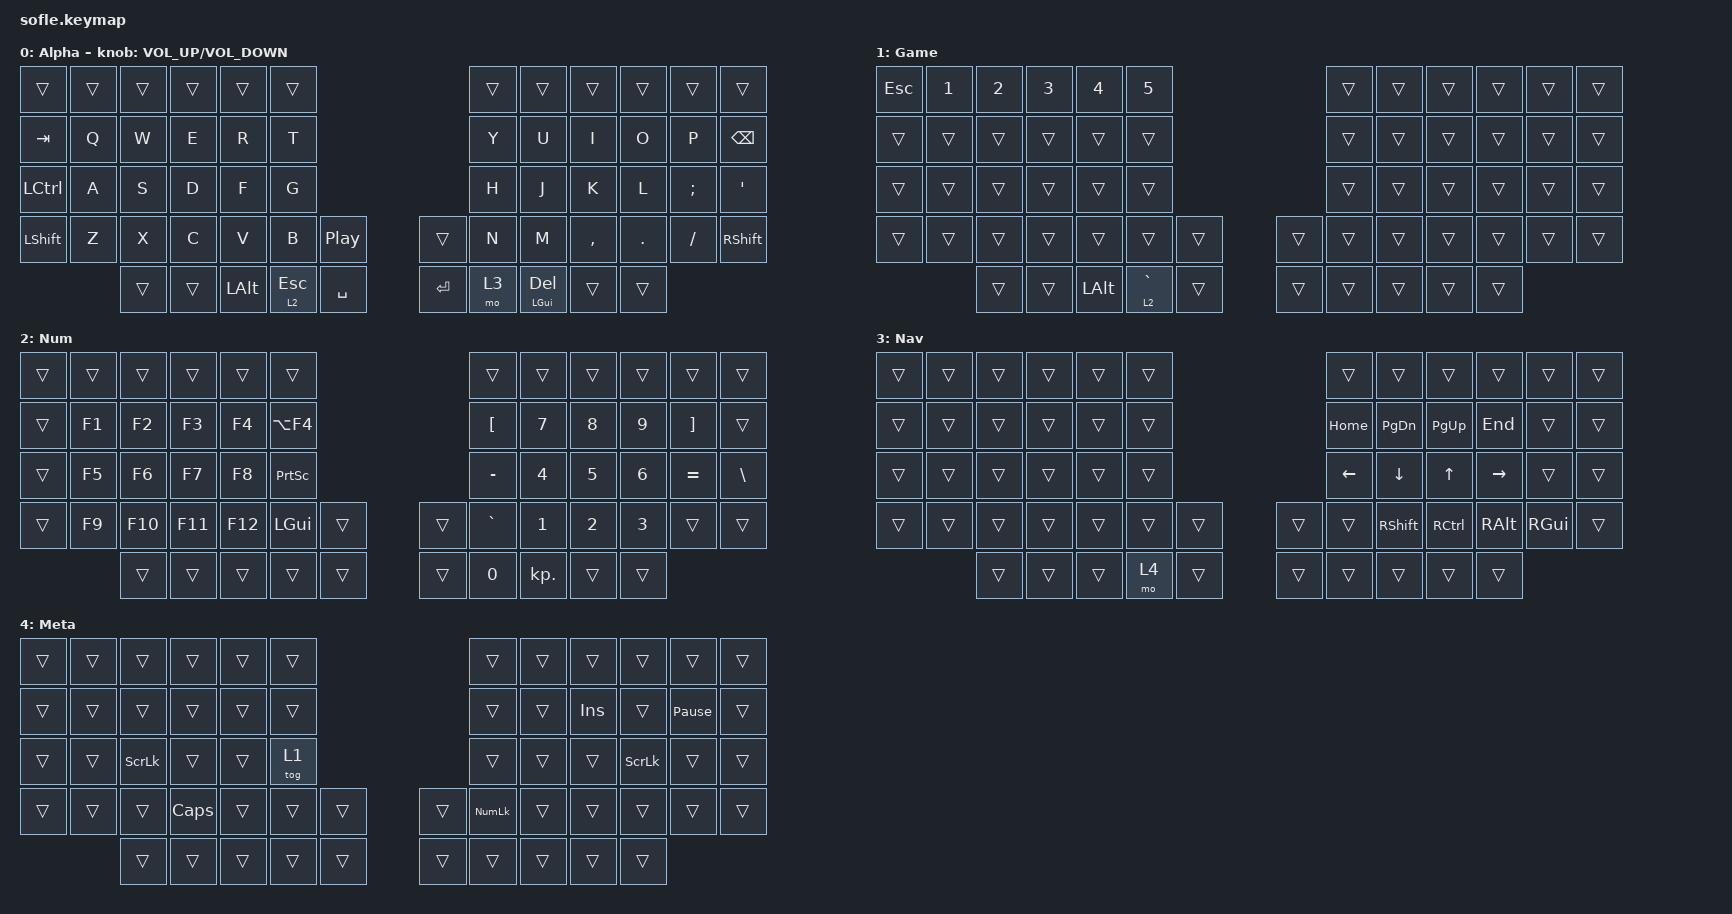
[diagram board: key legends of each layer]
/*
 * Copyright (c) 2020 The ZMK Contributors
 *
 * SPDX-License-Identifier: MIT
 */
// #include <dt-bindings/zmk/bt.h>

#include <behaviors.dtsi>
#include <dt-bindings/zmk/keys.h>

// #include <dt-bindings/zmk/outputs.h>

&lt {
    flavor = "balanced";
    quick-tap-ms = <200>;
};

/ {
    behaviors {
        left_shift: left_shift {
            compatible = "zmk,behavior-mod-morph";
            label = "LEFT_SHIFT";
            bindings = <&kp LSHIFT>, <&caps_word>;

            #binding-cells = <0>;
            mods = <(MOD_RSFT)>;
        };

        right_shift: right_shift {
            compatible = "zmk,behavior-mod-morph";
            label = "RIGHT_SHIFT";
            bindings = <&kp RSHIFT>, <&caps_word>;

            #binding-cells = <0>;
            mods = <(MOD_LSFT)>;
        };
    };

    keymap {
        compatible = "zmk,keymap";

        Alpha {
            bindings = <
&trans     &trans  &trans  &trans  &trans    &trans                                  &trans  &trans        &trans     &trans   &trans    &trans
&kp TAB    &kp Q   &kp W   &kp E   &kp R     &kp T                                   &kp Y   &kp U         &kp I      &kp O    &kp P     &kp BSPC
&kp LCTRL  &kp A   &kp S   &kp D   &kp F     &kp G                                   &kp H   &kp J         &kp K      &kp L    &kp SEMI  &kp SQT
&kp LSHFT  &kp Z   &kp X   &kp C   &kp V     &kp B      &kp C_PLAY_PAUSE    &trans   &kp N   &kp M         &kp COMMA  &kp DOT  &kp FSLH  &kp RSHFT
                   &trans  &trans  &kp LALT  &lt 2 ESC  &kp SPACE           &kp RET  &mo 3   &mt LGUI DEL  &trans     &trans
            >;

            sensor-bindings = <&inc_dec_kp C_VOLUME_UP C_VOLUME_DOWN>;
        };

        Game {
            bindings = <
&kp ESC  &kp N1  &kp N2  &kp N3  &kp N4    &kp N5                         &trans  &trans  &trans  &trans  &trans  &trans
&trans   &trans  &trans  &trans  &trans    &trans                         &trans  &trans  &trans  &trans  &trans  &trans
&trans   &trans  &trans  &trans  &trans    &trans                         &trans  &trans  &trans  &trans  &trans  &trans
&trans   &trans  &trans  &trans  &trans    &trans       &trans    &trans  &trans  &trans  &trans  &trans  &trans  &trans
                 &trans  &trans  &kp LALT  &lt 2 GRAVE  &trans    &trans  &trans  &trans  &trans  &trans
            >;
        };

        Num {
            bindings = <
&trans  &trans  &trans   &trans   &trans   &trans                             &trans     &trans      &trans  &trans  &trans     &trans
&trans  &kp F1  &kp F2   &kp F3   &kp F4   &kp LA(F4)                         &kp LBKT   &kp N7      &kp N8  &kp N9  &kp RBKT   &trans
&trans  &kp F5  &kp F6   &kp F7   &kp F8   &kp PRINTSCREEN                    &kp MINUS  &kp N4      &kp N5  &kp N6  &kp EQUAL  &kp BACKSLASH
&trans  &kp F9  &kp F10  &kp F11  &kp F12  &kp LGUI         &trans    &trans  &kp GRAVE  &kp N1      &kp N2  &kp N3  &trans     &trans
                &trans   &trans   &trans   &trans           &trans    &trans  &kp N0     &kp KP_DOT  &trans  &trans
            >;
        };

        Nav {
            bindings = <
&trans  &trans  &trans  &trans  &trans  &trans                    &trans    &trans         &trans       &trans     &trans    &trans
&trans  &trans  &trans  &trans  &trans  &trans                    &kp HOME  &kp PAGE_DOWN  &kp PAGE_UP  &kp END    &trans    &trans
&trans  &trans  &trans  &trans  &trans  &trans                    &kp LEFT  &kp DOWN       &kp UP       &kp RIGHT  &trans    &trans
&trans  &trans  &trans  &trans  &trans  &trans  &trans    &trans  &trans    &kp RSHFT      &kp RCTRL    &kp RALT   &kp RGUI  &trans
                &trans  &trans  &trans  &mo 4   &trans    &trans  &trans    &trans         &trans       &trans
            >;
        };

        Meta {
            bindings = <
&trans  &trans  &trans          &trans    &trans  &trans                    &trans          &trans  &trans      &trans          &trans           &trans
&trans  &trans  &trans          &trans    &trans  &trans                    &trans          &trans  &kp INSERT  &trans          &kp PAUSE_BREAK  &trans
&trans  &trans  &kp SCROLLLOCK  &trans    &trans  &tog 1                    &trans          &trans  &trans      &kp SCROLLLOCK  &trans           &trans
&trans  &trans  &trans          &kp CAPS  &trans  &trans  &trans    &trans  &kp KP_NUMLOCK  &trans  &trans      &trans          &trans           &trans
                &trans          &trans    &trans  &trans  &trans    &trans  &trans          &trans  &trans      &trans
            >;
        };
    };

    conditional_layers { compatible = "zmk,conditional-layers"; };
};

&sensors { triggers-per-rotation = <30>; };

&left_encoder { steps = <60>; };

&right_encoder { steps = <60>; };
